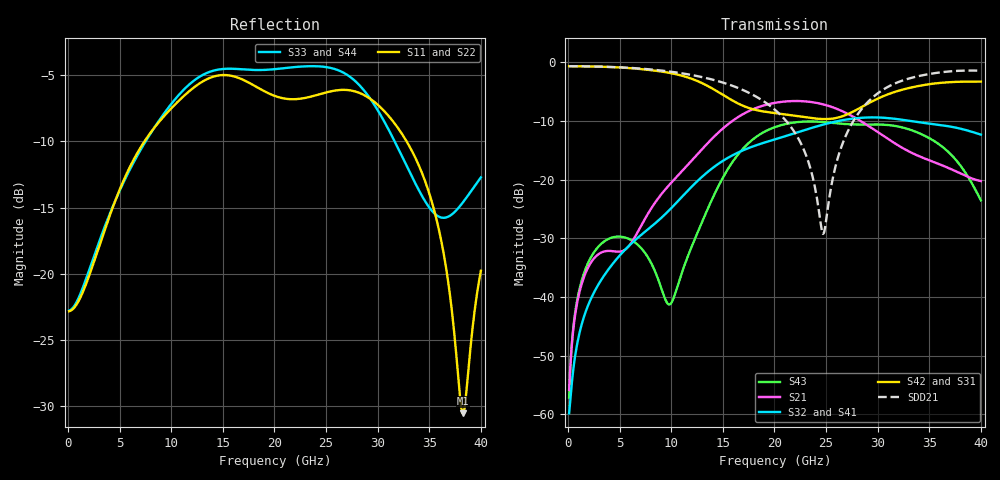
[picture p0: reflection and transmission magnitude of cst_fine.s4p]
! E_s8_L1L3_p800_round_g2: pair L1→L3, pitch 0.8 mm, two round antipads, 2 GND vias
! stackup: 8-layer 1.6 mm FR-4 (generic)
! ports: 1 P near, 2 N near, 3 P far, 4 N far
! CST Studio Suite 2025.5 Release from 2025-05-30, time domain (FIT, hexahedral, PBA), 394240 mesh cells, 93 s
! mesh: {'lpw': 30.0, 'lpb': 30.0, 'minstep': 0.0, 'ratio': 20}; ports: port 1 (face); port 2 (face); port 3 (face); port 4 (face)
! interpolated from CST's 1001 samples to the case grid
# Hz S RI R 50
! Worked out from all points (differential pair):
!   400 points, 100 MHz to 40 GHz, reference 50 ohm
!   strongest paths, dB at 100 MHz, 10.1 GHz, 20.1 GHz, 30.1 GHz, 40 GHz:
!     S42: -0.7, -1.9, -8.7, -6.1, -3.3
!     S31: -0.7, -1.9, -8.7, -6.1, -3.3
!     S32: -59.9, -24.7, -13.1, -9.4, -12.3
!     S41: -59.9, -24.7, -13.1, -9.4, -12.3
!     S21: -55.9, -20.3, -6.9, -12.0, -20.2
!     S43: -57.2, -40.7, -11.0, -10.6, -23.5
!   taken as a pair (ports 2,1 in; 4,3 out), SDD21 dB: -0.7, -1.6, -8.2, -5.2, -1.4
!   lowest |S11| = -30.5 dB at 38.3 GHz (marker M1), VSWR 1.06, Z = 51.9 + j2.38 ohm
!   |S11| at or under -10 dB: start of sweep to 7.395 GHz; 32.81 GHz to end of sweep
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1e8  -0.0722 -0.00101  0.00128 0.000977  0.9269 -0.0344  0.000912 -0.000481
     0.00128 0.000977  -0.0722 -0.00101  0.000912 -0.000481  0.9269 -0.0344
     0.9269 -0.0344  0.000897 -0.000479  -0.0726 -0.000975  0.000906 0.00105
     0.000897 -0.000479  0.9269 -0.0344  0.000906 0.00105  -0.0726 -0.000975
8.2e9  -0.0127 0.3498  0.059 -0.00685  -0.8521 -0.0595  0.00878 0.0398
       0.059 -0.00685  -0.0127 0.3498  0.00878 0.0398  -0.8521 -0.0595
       -0.8522 -0.0595  0.00878 0.0397  0.00457 0.3491  -0.0072 -0.0168
       0.00878 0.0397  -0.8522 -0.0595  -0.0072 -0.0168  0.00457 0.3491
1.5e10  0.2321 -0.5136  -0.2531 -0.102  0.4185 0.3229  -0.1029 -0.1015
        -0.2531 -0.102  0.2321 -0.5136  -0.1029 -0.1015  0.4185 0.3229
        0.4185 0.3229  -0.1029 -0.1014  0.1789 -0.5665  -0.1032 -0.0118
        -0.1029 -0.1014  0.4185 0.3229  -0.1032 -0.0118  0.1789 -0.5665
2.32e10  -0.273 0.375  0.4032 -0.2271  0.0159 -0.3377  0.1266 -0.2375
         0.4032 -0.2271  -0.273 0.375  0.1266 -0.2375  0.0159 -0.3377
         0.0159 -0.3377  0.1265 -0.2375  -0.0373 0.6073  0.1612 -0.2683
         0.1265 -0.2375  0.0159 -0.3377  0.1612 -0.2683  -0.0373 0.6073
3.05e10  0.2931 -0.2966  -0.166 0.1704  -0.4913 0.1469  0.0617 0.3316
         -0.166 0.1704  0.2931 -0.2966  0.0617 0.3316  -0.4913 0.1469
         -0.4913 0.1469  0.0617 0.3316  0.1632 -0.3482  0.07 0.2856
         0.0617 0.3316  -0.4913 0.1469  0.07 0.2856  0.1632 -0.3482
3.83e10  0.0188 0.023  0.0245 -0.1071  0.6838 -0.0213  -0.1401 -0.2285
         0.0245 -0.1071  0.0188 0.023  -0.1401 -0.2285  0.6838 -0.0213
         0.6838 -0.0213  -0.1401 -0.2285  -0.1811 0.047  -0.0687 -0.1004
         -0.1401 -0.2285  0.6838 -0.0213  -0.0687 -0.1004  -0.1811 0.047
4e10  0.0539 -0.0874  -0.0668 -0.0706  0.5458 -0.4148  -0.2305 -0.0729
      -0.0668 -0.0706  0.0539 -0.0874  -0.2305 -0.0729  0.5458 -0.4148
      0.5458 -0.4147  -0.2305 -0.0729  -0.1753 0.151  -0.0663 -0.00589
      -0.2305 -0.0729  0.5458 -0.4147  -0.0663 -0.00589  -0.1753 0.151
